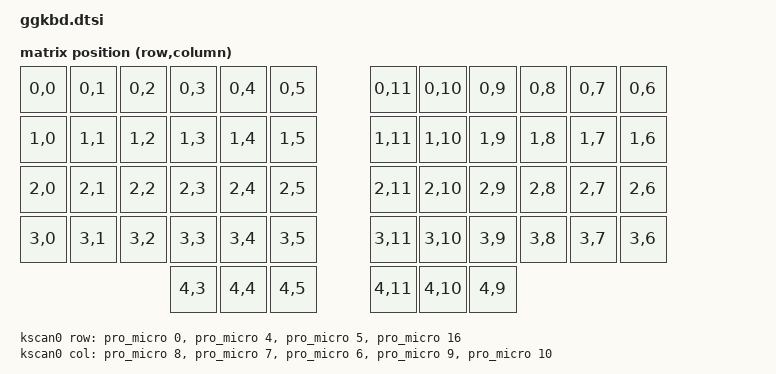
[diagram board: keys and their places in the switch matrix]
#include <dt-bindings/zmk/matrix_transform.h>
#include "ggkbd-layouts.dtsi"

&default_layout {
    transform = <&default_transform>;
};

/ {
    chosen {
        zmk,kscan = &kscan0;
        zmk,physical-layout = &default_layout;
    };

    default_transform: keymap_transform_0 {
        compatible = "zmk,matrix-transform";
        columns = <12>;
        rows = <5>;
        map = <
        //  LKey 1 |LKey 2 |LKey 3 |LKey 4 |LKey 5 |LKey 6      RKey 6  |RKey 5  |RKey 4 |RKey 3 |RKey 2 |RKey 1  
            RC(0,0) RC(0,1) RC(0,2) RC(0,3) RC(0,4) RC(0,5)     RC(0,11) RC(0,10) RC(0,9) RC(0,8) RC(0,7) RC(0,6) 
        //  LKey 7 |LKey 8 |LKey 9 |LKey 10|LKey 11|LKey 12     RKey 6  |RKey 7  |RKey 8 |RKey 9 |RKey 10|RKey 10  
            RC(1,0) RC(1,1) RC(1,2) RC(1,3) RC(1,4) RC(1,5)     RC(1,11) RC(1,10) RC(1,9) RC(1,8) RC(1,7) RC(1,6) 
        //  LKey 13|LKey 14|LKey 15|LKey 16|LKey 17|LKey 18     RKey 11 |RKey 12 |RKey 13|RKey 14|RKey 15|RKey 15 
            RC(2,0) RC(2,1) RC(2,2) RC(2,3) RC(2,4) RC(2,5)     RC(2,11) RC(2,10) RC(2,9) RC(2,8) RC(2,7) RC(2,6) 
        //  LKey 19|LKey 20|LKey 21|LKey 22|LKey 23|LKey 24     RKey 11 |RKey 12 |RKey 13|RKey 14|RKey 15|RKey 15 
            RC(3,0) RC(3,1) RC(3,2) RC(3,3) RC(3,4) RC(3,5)     RC(3,11) RC(3,10) RC(3,9) RC(3,8) RC(3,7) RC(3,6) 
        //                          LKey 25|LKey 26|LKey 27     RKey 16 |RKey 17 |RKey 17
                                    RC(4,3) RC(4,4) RC(4,5)     RC(4,11) RC(4,10) RC(4,9)
        >;
    };

    kscan0: kscan {
        compatible = "zmk,kscan-gpio-matrix";
        diode-direction = "col2row";
        wakeup-source;

        col-gpios
            = <&pro_micro 8 (GPIO_ACTIVE_HIGH)> // COL0
            , <&pro_micro 7 (GPIO_ACTIVE_HIGH)> // COL1
            , <&pro_micro 6 (GPIO_ACTIVE_HIGH)> // COL2
            , <&pro_micro 9 (GPIO_ACTIVE_HIGH)> // COL3
            , <&pro_micro 10 (GPIO_ACTIVE_HIGH)> // COL4
        ;
        row-gpios
            = <&pro_micro 0 (GPIO_ACTIVE_HIGH | GPIO_PULL_DOWN)> // ROW0
            , <&pro_micro 4 (GPIO_ACTIVE_HIGH | GPIO_PULL_DOWN)> // ROW1
            , <&pro_micro 5 (GPIO_ACTIVE_HIGH | GPIO_PULL_DOWN)> // ROW2
            , <&pro_micro 16 (GPIO_ACTIVE_HIGH | GPIO_PULL_DOWN)> // ROW3
        ;
    };
};
